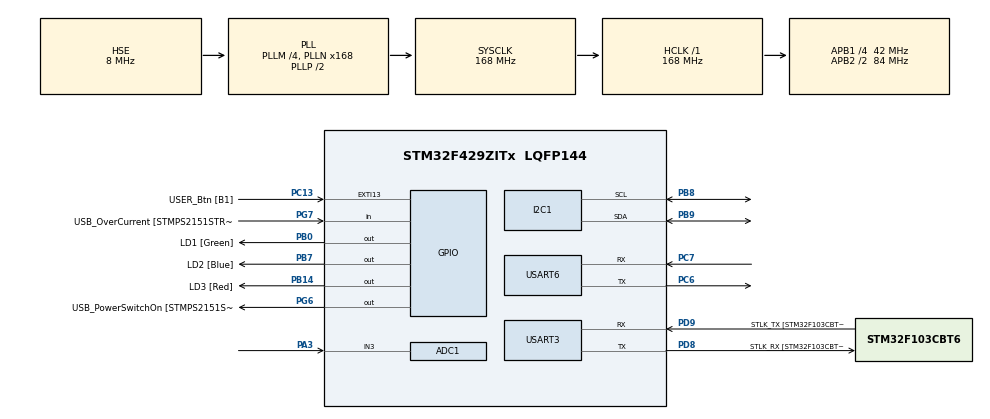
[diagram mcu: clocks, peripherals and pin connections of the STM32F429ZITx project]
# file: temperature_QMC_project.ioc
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ADC1.Channel-0\#ChannelRegularConversion=ADC_CHANNEL_3
ADC1.NbrOfConversionFlag=1
ADC1.Rank-0\#ChannelRegularConversion=1
ADC1.SamplingTime-0\#ChannelRegularConversion=ADC_SAMPLETIME_3CYCLES
ADC1.master=1
FREERTOS.Queues01=uartQueue01,16,uint16_t,0,Dynamic,NULL,NULL
FREERTOS.Tasks01=qmcTask,24,128,QMCTask,Default,NULL,Dynamic,NULL,NULL;tempTask,24,128,tempTask02,Default,NULL,Dynamic,NULL,NULL;uartTask,40,128,printTask,Default,NULL,Dynamic,NULL,NULL
Mcu.Family=STM32F4
Mcu.Name=STM32F429ZITx
Mcu.Package=LQFP144
NVIC.ADC_IRQn=true\:5\:0\:false\:false\:true\:true\:true\:true\:true
NVIC.PriorityGroup=NVIC_PRIORITYGROUP_4
PA13.GPIO_Label=TMS
PA13.Mode=Serial_Wire
PA13.Signal=SYS_JTMS-SWDIO
PA14.GPIO_Label=TCK
PA14.Mode=Serial_Wire
PA14.Signal=SYS_JTCK-SWCLK
PA3.Signal=ADCx_IN3
PB0.GPIO_Label=LD1 [Green]
PB0.Signal=GPIO_Output
PB14.GPIO_Label=LD3 [Red]
PB14.Signal=GPIO_Output
PB7.GPIO_Label=LD2 [Blue]
PB7.Signal=GPIO_Output
PB8.Mode=I2C
PB8.Signal=I2C1_SCL
PB9.Mode=I2C
PB9.Signal=I2C1_SDA
PC13.GPIO_Label=USER_Btn [B1]
PC13.Signal=GPXTI13
PC14/OSC32_IN.Mode=LSE-External-Oscillator
PC14/OSC32_IN.Signal=RCC_OSC32_IN
PC15/OSC32_OUT.Mode=LSE-External-Oscillator
PC15/OSC32_OUT.Signal=RCC_OSC32_OUT
PC6.Mode=Asynchronous
PC6.Signal=USART6_TX
PC7.Mode=Asynchronous
PC7.Signal=USART6_RX
PD8.GPIO_Label=STLK_RX [STM32F103CBT6_PA3]
PD8.Mode=Asynchronous
PD8.Signal=USART3_TX
PD9.GPIO_Label=STLK_TX [STM32F103CBT6_PA2]
PD9.Mode=Asynchronous
PD9.Signal=USART3_RX
PG6.GPIO_Label=USB_PowerSwitchOn [STMPS2151STR_EN]
PG6.Signal=GPIO_Output
PG7.GPIO_Label=USB_OverCurrent [STMPS2151STR_FAULT]
PG7.Signal=GPIO_Input
PH0/OSC_IN.GPIO_Label=MCO [STM32F103CBT6_PA8]
PH0/OSC_IN.Mode=HSE-External-Clock-Source
PH0/OSC_IN.Signal=RCC_OSC_IN
PH1/OSC_OUT.Mode=HSE-External-Clock-Source
PH1/OSC_OUT.Signal=RCC_OSC_OUT
ProjectManager.HeapSize=0x200
ProjectManager.StackSize=0x400
ProjectManager.TargetToolchain=STM32CubeIDE
RCC.48MHZClocksFreq_Value=48000000
RCC.AHBFreq_Value=168000000
RCC.APB1CLKDivider=RCC_HCLK_DIV4
RCC.APB1Freq_Value=42000000
RCC.APB1TimFreq_Value=84000000
RCC.APB2CLKDivider=RCC_HCLK_DIV2
RCC.APB2Freq_Value=84000000
RCC.APB2TimCLKDivider=2
RCC.APB2TimFreq_Value=168000000
RCC.CortexFreq_Value=168000000
RCC.HCLKFreq_Value=168000000
RCC.HSE_VALUE=8000000
RCC.HSI_VALUE=16000000
RCC.PLLM=4
RCC.PLLMUL=RCC_PLL_MUL9
RCC.PLLN=168
RCC.PLLQ=7
RCC.PLLSourceVirtual=RCC_PLLSOURCE_HSE
RCC.PRESCALERUSB=RCC_USBCLKSOURCE_PLL_DIV1_5
RCC.SYSCLKFreq_VALUE=168000000
RCC.SYSCLKSource=RCC_SYSCLKSOURCE_PLLCLK
RCC.SYSCLKSourceVirtual=RCC_SYSCLKSOURCE_PLLCLK
RCC.USBFreq_Value=48000000
RCC.VCOOutputFreq_Value=336000000
SH.ADCx_IN3.0=ADC1_IN3,IN3
USART3.VirtualMode=VM_ASYNC
USART6.VirtualMode=VM_ASYNC
VP_FREERTOS_VS_CMSIS_V2.Mode=CMSIS_V2
board=NUCLEO-F429ZI

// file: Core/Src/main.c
/* USER CODE BEGIN Header */
/**
  ******************************************************************************
  * @file           : main.c
  * @brief          : Main program body
  ******************************************************************************
  * @attention
  *
  * Copyright (c) 2025 STMicroelectronics.
  * All rights reserved.
  *
  * This software is licensed under terms that can be found in the LICENSE file
  * in the root directory of this software component.
  * If no LICENSE file comes with this software, it is provided AS-IS.
  *
  ******************************************************************************
  */
/* USER CODE END Header */
#include "main.h"
#include "cmsis_os.h"

/* USER CODE BEGIN PTD */
typedef struct{
	uint16_t temp;
	int16_t x;
	int16_t y;
	int16_t z;
	uint8_t qmcd[6];
}sensor;

sensor s;

typedef struct{
	char tempbuf[256];
	char qmcbuf[256];
}wifi;

wifi d;

char cwjap[] = "AT+CWJAP=\"choi\",\"cuh010108\"\r\n";

char tcp[] = "AT+CIPSTART=\"TCP\",\"192.xxx.xxx.xxx\",5001\r\n";

char close[] = "AT+CIPCLOSE\r\n";

char buf[256];

/* USER CODE END PTD */

/* USER CODE BEGIN PD */
#define QMC_ADDR 0x0D << 1

#define QMC_DATA 0x00
#define QMC_CON 0x09
#define QMC_SR 0x0B
/* USER CODE END PD */

ADC_HandleTypeDef hadc1;

I2C_HandleTypeDef hi2c1;

UART_HandleTypeDef huart3;
UART_HandleTypeDef huart6;

/* Definitions for qmcTask */
osThreadId_t qmcTaskHandle;
const osThreadAttr_t qmcTask_attributes = {
  .name = "qmcTask",
  .stack_size = 128 * 4,
  .priority = (osPriority_t) osPriorityNormal,
};
/* Definitions for tempTask */
osThreadId_t tempTaskHandle;
const osThreadAttr_t tempTask_attributes = {
  .name = "tempTask",
  .stack_size = 128 * 4,
  .priority = (osPriority_t) osPriorityNormal,
};
/* Definitions for uartTask */
osThreadId_t uartTaskHandle;
const osThreadAttr_t uartTask_attributes = {
  .name = "uartTask",
  .stack_size = 128 * 4,
  .priority = (osPriority_t) osPriorityHigh,
};
/* Definitions for uartQueue01 */
osMessageQueueId_t uartQueue01Handle;
const osMessageQueueAttr_t uartQueue01_attributes = {
  .name = "uartQueue01"
};

void SystemClock_Config(void);
static void MX_GPIO_Init(void);
static void MX_USART3_UART_Init(void);
static void MX_ADC1_Init(void);
static void MX_I2C1_Init(void);
static void MX_USART6_UART_Init(void);
void QMCTask(void *argument);
void tempTask02(void *argument);
void printTask(void *argument);

/* USER CODE BEGIN 0 */
void QMC_Init(){
	uint8_t reset;

    reset = 0x1D;

    HAL_I2C_Mem_Write(&hi2c1,QMC_ADDR,QMC_CON,1,&reset,1,1000);

    reset = 0x01;

    HAL_I2C_Mem_Write(&hi2c1,QMC_ADDR,QMC_SR,1,&reset,1,1000);

}

void QMC_READ(sensor *Qd){
 uint8_t flag;
     HAL_I2C_Mem_Read(&hi2c1,QMC_ADDR,QMC_SR,1,&flag,1,1000);

     if(flag & 0x01){

    	 HAL_I2C_Mem_Read(&hi2c1,QMC_ADDR,QMC_DATA,1,Qd->qmcd,6,1000);
    	 Qd->x = (int16_t)(Qd->qmcd[1]<<8)|Qd->qmcd[0];
    	 Qd->y = (int16_t)(Qd->qmcd[3]<<8)|Qd->qmcd[2];
    	 Qd->z = (int16_t)(Qd->qmcd[5]<<8)|Qd->qmcd[4];
     }
}
/* USER CODE END 0 */

int main(void)
{

  /* MCU Configuration--------------------------------------------------------*/

  /* Reset of all peripherals, Initializes the Flash interface and the Systick. */
  HAL_Init();

  /* Configure the system clock */
  SystemClock_Config();

  /* Initialize all configured peripherals */
  MX_GPIO_Init();
  MX_USART3_UART_Init();
  MX_ADC1_Init();
  MX_I2C1_Init();
  MX_USART6_UART_Init();

  /* Init scheduler */
  osKernelInitialize();

  /* Create the queue(s) */
  /* creation of uartQueue01 */
  uartQueue01Handle = osMessageQueueNew (16, sizeof(char[256]), &uartQueue01_attributes);

  /* Create the thread(s) */
  /* creation of qmcTask */
  qmcTaskHandle = osThreadNew(QMCTask, NULL, &qmcTask_attributes);

  /* creation of tempTask */
  tempTaskHandle = osThreadNew(tempTask02, NULL, &tempTask_attributes);

  /* creation of uartTask */
  uartTaskHandle = osThreadNew(printTask, NULL, &uartTask_attributes);

	HAL_UART_Transmit(&huart6,(uint8_t*)cwjap,strlen(cwjap),100);
  osDelay(5000);
  /* Start scheduler */
  osKernelStart();

  /* We should never get here as control is now taken by the scheduler */

  /* Infinite loop */
  while (1)
  {

  }
}

void SystemClock_Config(void)
{
  RCC_OscInitTypeDef RCC_OscInitStruct = {0};
  RCC_ClkInitTypeDef RCC_ClkInitStruct = {0};

  /** Configure the main internal regulator output voltage
  */
  __HAL_RCC_PWR_CLK_ENABLE();
  __HAL_PWR_VOLTAGESCALING_CONFIG(PWR_REGULATOR_VOLTAGE_SCALE1);

  /** Initializes the RCC Oscillators according to the specified parameters
  * in the RCC_OscInitTypeDef structure.
  */
  RCC_OscInitStruct.OscillatorType = RCC_OSCILLATORTYPE_HSE;
  RCC_OscInitStruct.HSEState = RCC_HSE_BYPASS;
  RCC_OscInitStruct.PLL.PLLState = RCC_PLL_ON;
  RCC_OscInitStruct.PLL.PLLSource = RCC_PLLSOURCE_HSE;
  RCC_OscInitStruct.PLL.PLLM = 4;
  RCC_OscInitStruct.PLL.PLLN = 168;
  RCC_OscInitStruct.PLL.PLLP = RCC_PLLP_DIV2;
  RCC_OscInitStruct.PLL.PLLQ = 7;
  if (HAL_RCC_OscConfig(&RCC_OscInitStruct) != HAL_OK)
  {
    Error_Handler();
  }

  /** Initializes the CPU, AHB and APB buses clocks
  */
  RCC_ClkInitStruct.ClockType = RCC_CLOCKTYPE_HCLK|RCC_CLOCKTYPE_SYSCLK
                              |RCC_CLOCKTYPE_PCLK1|RCC_CLOCKTYPE_PCLK2;
  RCC_ClkInitStruct.SYSCLKSource = RCC_SYSCLKSOURCE_PLLCLK;
  RCC_ClkInitStruct.AHBCLKDivider = RCC_SYSCLK_DIV1;
  RCC_ClkInitStruct.APB1CLKDivider = RCC_HCLK_DIV4;
  RCC_ClkInitStruct.APB2CLKDivider = RCC_HCLK_DIV2;

  if (HAL_RCC_ClockConfig(&RCC_ClkInitStruct, FLASH_LATENCY_5) != HAL_OK)
  {
    Error_Handler();
  }
}

static void MX_ADC1_Init(void)
{

  ADC_ChannelConfTypeDef sConfig = {0};

  /** Configure the global features of the ADC (Clock, Resolution, Data Alignment and number of conversion)
  */
  hadc1.Instance = ADC1;
  hadc1.Init.ClockPrescaler = ADC_CLOCK_SYNC_PCLK_DIV4;
  hadc1.Init.Resolution = ADC_RESOLUTION_12B;
  hadc1.Init.ScanConvMode = DISABLE;
  hadc1.Init.ContinuousConvMode = DISABLE;
  hadc1.Init.DiscontinuousConvMode = DISABLE;
  hadc1.Init.ExternalTrigConvEdge = ADC_EXTERNALTRIGCONVEDGE_NONE;
  hadc1.Init.ExternalTrigConv = ADC_SOFTWARE_START;
  hadc1.Init.DataAlign = ADC_DATAALIGN_RIGHT;
  hadc1.Init.NbrOfConversion = 1;
  hadc1.Init.DMAContinuousRequests = DISABLE;
  hadc1.Init.EOCSelection = ADC_EOC_SINGLE_CONV;
  if (HAL_ADC_Init(&hadc1) != HAL_OK)
  {
    Error_Handler();
  }

  /** Configure for the selected ADC regular channel its corresponding rank in the sequencer and its sample time.
  */
  sConfig.Channel = ADC_CHANNEL_3;
  sConfig.Rank = 1;
  sConfig.SamplingTime = ADC_SAMPLETIME_3CYCLES;
  if (HAL_ADC_ConfigChannel(&hadc1, &sConfig) != HAL_OK)
  {
    Error_Handler();
  }

}

static void MX_I2C1_Init(void)
{

  hi2c1.Instance = I2C1;
  hi2c1.Init.ClockSpeed = 100000;
  hi2c1.Init.DutyCycle = I2C_DUTYCYCLE_2;
  hi2c1.Init.OwnAddress1 = 0;
  hi2c1.Init.AddressingMode = I2C_ADDRESSINGMODE_7BIT;
  hi2c1.Init.DualAddressMode = I2C_DUALADDRESS_DISABLE;
  hi2c1.Init.OwnAddress2 = 0;
  hi2c1.Init.GeneralCallMode = I2C_GENERALCALL_DISABLE;
  hi2c1.Init.NoStretchMode = I2C_NOSTRETCH_DISABLE;
  if (HAL_I2C_Init(&hi2c1) != HAL_OK)
  {
    Error_Handler();
  }

  /** Configure Analogue filter
  */
  if (HAL_I2CEx_ConfigAnalogFilter(&hi2c1, I2C_ANALOGFILTER_ENABLE) != HAL_OK)
  {
    Error_Handler();
  }

  /** Configure Digital filter
  */
  if (HAL_I2CEx_ConfigDigitalFilter(&hi2c1, 0) != HAL_OK)
  {
    Error_Handler();
  }

}

static void MX_USART3_UART_Init(void)
{

  huart3.Instance = USART3;
  huart3.Init.BaudRate = 115200;
  huart3.Init.WordLength = UART_WORDLENGTH_8B;
  huart3.Init.StopBits = UART_STOPBITS_1;
  huart3.Init.Parity = UART_PARITY_NONE;
  huart3.Init.Mode = UART_MODE_TX_RX;
  huart3.Init.HwFlowCtl = UART_HWCONTROL_NONE;
  huart3.Init.OverSampling = UART_OVERSAMPLING_16;
  if (HAL_UART_Init(&huart3) != HAL_OK)
  {
    Error_Handler();
  }

}

static void MX_USART6_UART_Init(void)
{

  huart6.Instance = USART6;
  huart6.Init.BaudRate = 115200;
  huart6.Init.WordLength = UART_WORDLENGTH_8B;
  huart6.Init.StopBits = UART_STOPBITS_1;
  huart6.Init.Parity = UART_PARITY_NONE;
  huart6.Init.Mode = UART_MODE_TX_RX;
  huart6.Init.HwFlowCtl = UART_HWCONTROL_NONE;
  huart6.Init.OverSampling = UART_OVERSAMPLING_16;
  if (HAL_UART_Init(&huart6) != HAL_OK)
  {
    Error_Handler();
  }

}

static void MX_GPIO_Init(void)
{
  GPIO_InitTypeDef GPIO_InitStruct = {0};

  /* GPIO Ports Clock Enable */
  __HAL_RCC_GPIOC_CLK_ENABLE();
  __HAL_RCC_GPIOH_CLK_ENABLE();
  __HAL_RCC_GPIOA_CLK_ENABLE();
  __HAL_RCC_GPIOB_CLK_ENABLE();
  __HAL_RCC_GPIOD_CLK_ENABLE();
  __HAL_RCC_GPIOG_CLK_ENABLE();

  /*Configure GPIO pin Output Level */
  HAL_GPIO_WritePin(GPIOB, LD1_Pin|LD3_Pin|LD2_Pin, GPIO_PIN_RESET);

  /*Configure GPIO pin Output Level */
  HAL_GPIO_WritePin(USB_PowerSwitchOn_GPIO_Port, USB_PowerSwitchOn_Pin, GPIO_PIN_RESET);

  /*Configure GPIO pin : USER_Btn_Pin */
  GPIO_InitStruct.Pin = USER_Btn_Pin;
  GPIO_InitStruct.Mode = GPIO_MODE_IT_RISING;
  GPIO_InitStruct.Pull = GPIO_NOPULL;
  HAL_GPIO_Init(USER_Btn_GPIO_Port, &GPIO_InitStruct);

  /*Configure GPIO pins : LD1_Pin LD3_Pin LD2_Pin */
  GPIO_InitStruct.Pin = LD1_Pin|LD3_Pin|LD2_Pin;
  GPIO_InitStruct.Mode = GPIO_MODE_OUTPUT_PP;
  GPIO_InitStruct.Pull = GPIO_NOPULL;
  GPIO_InitStruct.Speed = GPIO_SPEED_FREQ_LOW;
  HAL_GPIO_Init(GPIOB, &GPIO_InitStruct);

  /*Configure GPIO pin : USB_PowerSwitchOn_Pin */
  GPIO_InitStruct.Pin = USB_PowerSwitchOn_Pin;
  GPIO_InitStruct.Mode = GPIO_MODE_OUTPUT_PP;
  GPIO_InitStruct.Pull = GPIO_NOPULL;
  GPIO_InitStruct.Speed = GPIO_SPEED_FREQ_LOW;
  HAL_GPIO_Init(USB_PowerSwitchOn_GPIO_Port, &GPIO_InitStruct);

  /*Configure GPIO pin : USB_OverCurrent_Pin */
  GPIO_InitStruct.Pin = USB_OverCurrent_Pin;
  GPIO_InitStruct.Mode = GPIO_MODE_INPUT;
  GPIO_InitStruct.Pull = GPIO_NOPULL;
  HAL_GPIO_Init(USB_OverCurrent_GPIO_Port, &GPIO_InitStruct);

}

void QMCTask(void *argument)
{
  /* USER CODE BEGIN 5 */
	QMC_Init();
  /* Infinite loop */
  for(;;)
  {
	  HAL_UART_Transmit(&huart6,(uint8_t*)tcp,strlen(tcp),100);
	  osDelay(1000);
	  QMC_READ(&s);
	  osDelay(10);
	  sprintf(d.qmcbuf,"GET /test?data=%d,%d,%d HTTP/1.1\r\nHost: 192.168.146.237\r\nConnection: close\r\n\r\n",s.x,s.y,s.z);
	  sprintf(buf, "AT+CIPSEND=%d\r\n", strlen(d.qmcbuf));
	  osMessageQueuePut(uartQueue01Handle,buf,0,0);
	  osMessageQueuePut(uartQueue01Handle,d.qmcbuf,0,0);
      osDelay(2000);
  }
  /* USER CODE END 5 */
}

void tempTask02(void *argument)
{
  /* USER CODE BEGIN tempTask02 */

  /* Infinite loop */
  for(;;)
  {
	 ADC1->CR2 = 0x40000001;
	 s.temp = ADC1->DR;
	 sprintf(d.tempbuf,"GET /test?data=%d HTTP/1.1\r\nHost: 192.168.146.237\r\nConnection: close\r\n\r\n",s.temp);
	 sprintf(buf, "AT+CIPSEND=%d\r\n", strlen(d.tempbuf));
	 osMessageQueuePut(uartQueue01Handle,buf,0,0);
	 osMessageQueuePut(uartQueue01Handle,d.tempbuf,0,0);
     osDelay(2000);
  }
  /* USER CODE END tempTask02 */
}

void printTask(void *argument)
{
  /* USER CODE BEGIN printTask */
  /* Infinite loop */
  for(;;)
  {
	  if (osMessageQueueGet(uartQueue01Handle, buf, NULL, osWaitForever) == osOK) {
		  HAL_UART_Transmit(&huart6, (uint8_t*)buf, strlen(buf), 0xFFFF);
		  osDelay(300);
	 	  	         }

	    if (osMessageQueueGet(uartQueue01Handle, buf, NULL, osWaitForever) == osOK) {
	        HAL_UART_Transmit(&huart6, (uint8_t*)buf, strlen(buf), 0xFFFF);
	        osDelay(1000);
	    }
  }
  /* USER CODE END printTask */
}

void Error_Handler(void)
{
  __disable_irq();
  while (1)
  {
  }
}
